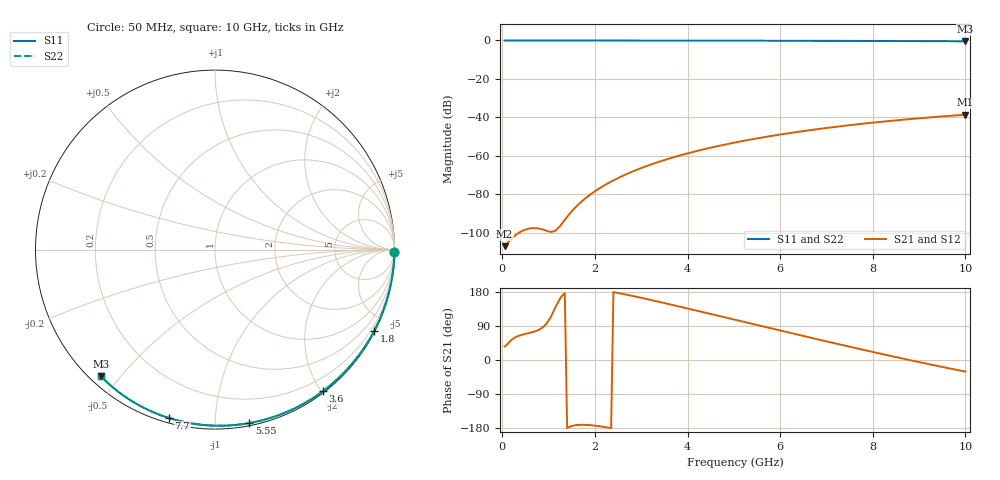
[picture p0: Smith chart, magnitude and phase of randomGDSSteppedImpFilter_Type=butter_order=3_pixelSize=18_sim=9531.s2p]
! freq	dB(S11)	phase(S11)	dB(S12)	phase(S12)
!  dB(S21)	phase(S21)	dB(S22)	phase(S22)
!S-par simulation data
#  GHz  S  DB  R 50
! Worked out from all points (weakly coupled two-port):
!   200 points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, 50 MHz to 10 GHz, reference 50 ohm
!   highest |S21| = -38.61 dB at 10 GHz (marker M1); lowest = -107.0 dB at 50 MHz (marker M2)
!   lowest |S11| = -0.4 dB at 10 GHz (marker M3), VSWR 39.10, Z = 1.53 - j22.3 ohm
!   |S11| at or under -10 dB: nowhere
!   |S22| runs from -0.4 to 0.0 dB; largest |S21 - S12| = 0
!   S11 on the Smith chart (normalised r, x): 50 MHz: open; 1.8 GHz: 0.04, -4.17; 3.6 GHz: 0.02, -2.02; 5.55 GHz: 0.02, -1.22; 7.7 GHz: 0.02, -0.76; 10 GHz: 0.03, -0.45
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0.05  -0.00 -0.8  -106.98 35.7  -106.98 35.7  -0.00 -0.8
0.45  -0.01 -6.8  -98.83 67.5  -98.83 67.5  -0.01 -6.8
0.9  -0.02 -13.6  -98.53 89.3  -98.53 89.3  -0.02 -13.6
1.75  -0.03 -26.3  -82.98 -170.9  -82.98 -170.9  -0.03 -26.3
1.8  -0.03 -27.0  -81.98 -171.1  -81.98 -171.1  -0.03 -27.0
1.9  -0.04 -28.5  -80.13 -171.9  -80.13 -171.9  -0.04 -28.5
2.25  -0.04 -33.6  -74.71 -177.6  -74.71 -177.6  -0.04 -33.6
2.45  -0.05 -36.5  -72.14 178.0  -72.14 178.0  -0.05 -36.5
2.65  -0.05 -39.3  -69.85 173.2  -69.85 173.2  -0.05 -39.3
3  -0.06 -44.3  -66.36 164.1  -66.36 164.1  -0.06 -44.3
3.4  -0.07 -50.0  -62.95 153.1  -62.95 153.1  -0.07 -50.0
3.6  -0.07 -52.8  -61.44 147.4  -61.44 147.4  -0.07 -52.8
3.9  -0.08 -56.9  -59.36 138.8  -59.36 138.8  -0.08 -56.9
4.3  -0.09 -62.4  -56.89 127.2  -56.89 127.2  -0.09 -62.4
5.05  -0.11 -72.3  -52.95 105.3  -52.95 105.3  -0.11 -72.3
5.55  -0.13 -78.8  -50.72 90.8  -50.72 90.8  -0.13 -78.8
6.1  -0.15 -85.8  -48.55 74.8  -48.55 74.8  -0.15 -85.8
6.7  -0.18 -93.3  -46.46 57.6  -46.46 57.6  -0.18 -93.3
7.7  -0.24 -105.3  -43.51 29.4  -43.51 29.4  -0.24 -105.3
8.35  -0.29 -112.9  -41.89 11.7  -41.89 11.7  -0.29 -112.9
9.15  -0.36 -122.2  -40.17 -9.4  -40.17 -9.4  -0.36 -122.2
10  -0.44 -131.9  -38.61 -30.5  -38.61 -30.5  -0.44 -131.9
